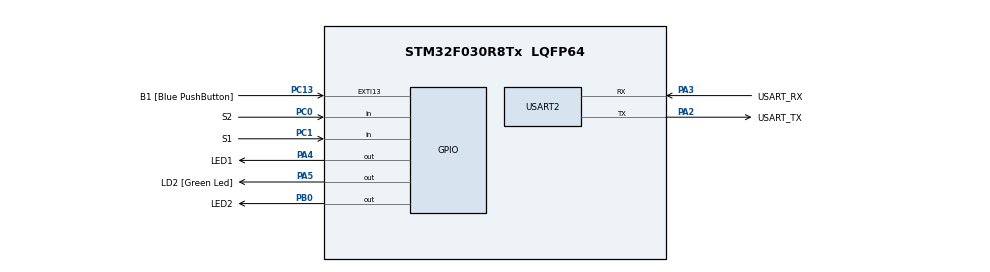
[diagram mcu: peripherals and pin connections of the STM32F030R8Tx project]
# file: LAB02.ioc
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Mcu.Family=STM32F0
Mcu.Name=STM32F030R8Tx
Mcu.Package=LQFP64
PA13.GPIO_Label=TMS
PA13.Mode=Serial_Wire
PA13.Signal=SYS_SWDIO
PA14.GPIO_Label=TCK
PA14.Mode=Serial_Wire
PA14.Signal=SYS_SWCLK
PA2.GPIO_Label=USART_TX
PA2.GPIO_Mode=GPIO_MODE_AF_PP
PA2.GPIO_PuPd=GPIO_NOPULL
PA2.GPIO_Speed=GPIO_SPEED_FREQ_LOW
PA2.Mode=Asynchronous
PA2.Signal=USART2_TX
PA3.GPIO_Label=USART_RX
PA3.GPIO_Mode=GPIO_MODE_AF_PP
PA3.GPIO_PuPd=GPIO_NOPULL
PA3.GPIO_Speed=GPIO_SPEED_FREQ_LOW
PA3.Mode=Asynchronous
PA3.Signal=USART2_RX
PA4.GPIO_Label=LED1
PA4.Signal=GPIO_Output
PA5.GPIO_Label=LD2 [Green Led]
PA5.GPIO_Mode=GPIO_MODE_OUTPUT_PP
PA5.GPIO_PuPd=GPIO_NOPULL
PA5.GPIO_Speed=GPIO_SPEED_FREQ_LOW
PA5.Signal=GPIO_Output
PB0.GPIO_Label=LED2
PB0.Signal=GPIO_Output
PC0.GPIO_Label=S2
PC0.GPIO_PuPd=GPIO_PULLUP
PC0.Signal=GPIO_Input
PC1.GPIO_Label=S1
PC1.GPIO_PuPd=GPIO_PULLUP
PC1.Signal=GPIO_Input
PC13.GPIO_Label=B1 [Blue PushButton]
PC13.GPIO_ModeDefaultEXTI=GPIO_MODE_IT_FALLING
PC13.Signal=GPXTI13
PC14-OSC32_IN.Mode=LSE-External-Oscillator
PC14-OSC32_IN.Signal=RCC_OSC32_IN
PC15-OSC32_OUT.Mode=LSE-External-Oscillator
PC15-OSC32_OUT.Signal=RCC_OSC32_OUT
PF0-OSC_IN.Mode=HSE-External-Clock-Source
PF0-OSC_IN.Signal=RCC_OSC_IN
PF1-OSC_OUT.Signal=RCC_OSC_OUT
ProjectManager.HeapSize=0x200
ProjectManager.StackSize=0x400
ProjectManager.TargetToolchain=STM32CubeIDE
RCC.AHBFreq_Value=48000000
RCC.APB1Freq_Value=48000000
RCC.APB1TimFreq_Value=48000000
RCC.HCLKFreq_Value=48000000
RCC.PLLMUL=RCC_PLL_MUL12
RCC.SYSCLKFreq_VALUE=48000000
RCC.SYSCLKSource=RCC_SYSCLKSOURCE_PLLCLK
USART2.VirtualMode-Asynchronous=VM_ASYNC
board=NUCLEO-F030R8

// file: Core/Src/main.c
/* USER CODE BEGIN Header */
/**
  ******************************************************************************
  * @file           : main.c
  * @brief          : Main program body
  ******************************************************************************
  * @attention
  *
  * Copyright (c) 2025 STMicroelectronics.
  * All rights reserved.
  *
  * This software is licensed under terms that can be found in the LICENSE file
  * in the root directory of this software component.
  * If no LICENSE file comes with this software, it is provided AS-IS.
  *
  ******************************************************************************
  */
/* USER CODE END Header */
#include "main.h"

/* USER CODE BEGIN PD */
#define LED_TIME_BLINK 300
#define BUTTON_TIME_SAMPLE 40
#define BUTTON_TIME_SAMPLE_SHORT 5
#define LED_TIME_SHORT 100
#define LED_TIME_LONG 1000

//#define OLD
/* USER CODE END PD */

/* USER CODE BEGIN PV */
volatile uint32_t Tick;

/* USER CODE END PV */

void SystemClock_Config(void);
static void MX_GPIO_Init(void);
static void MX_USART2_UART_Init(void);

/* USER CODE BEGIN 0 */
void blink(void) {
	static uint32_t delay;

	if (Tick > delay + LED_TIME_BLINK) {
		LL_GPIO_TogglePin(LED1_GPIO_Port, LED1_Pin);
		delay = Tick;
	}
}

#ifdef OLD
void button(void) {
	static uint32_t delay;
	static uint32_t old_s1, old_s2;
	static uint32_t off_time;

	if (Tick > delay + BUTTON_TIME_SAMPLE) {
		uint32_t new_s1 = LL_GPIO_IsInputPinSet(S1_GPIO_Port, S1_Pin);
		uint32_t new_s2 = LL_GPIO_IsInputPinSet(S2_GPIO_Port, S2_Pin);

		if (old_s1 && !new_s1) { // falling edge
			off_time = Tick + LED_TIME_LONG;
			LL_GPIO_SetOutputPin(LED2_GPIO_Port, LED2_Pin);
		}
		if (old_s2 && !new_s2) { // falling edge
			off_time = Tick + LED_TIME_SHORT;
			LL_GPIO_SetOutputPin(LED2_GPIO_Port, LED2_Pin);
		}
		old_s1 = new_s1;
		old_s2 = new_s2;
		delay = Tick;
	}

	if (Tick > off_time) {
		LL_GPIO_ResetOutputPin(LED2_GPIO_Port, LED2_Pin);
	}

}
#else

void button(void) {
	static uint32_t delay;
	static uint32_t off_time;
	static uint32_t old_s2;
	static uint16_t debounce = 0xFFFF;

	if (Tick > delay + BUTTON_TIME_SAMPLE_SHORT) {
		debounce <<= 1;

		if (LL_GPIO_IsInputPinSet(S1_GPIO_Port, S1_Pin)) {
			debounce |= 0x0001;
		}

		if (debounce == 0x7FFF) { // falling edge
			off_time = Tick + LED_TIME_LONG;
			LL_GPIO_SetOutputPin(LED2_GPIO_Port, LED2_Pin);
		}

		uint32_t new_s2 = LL_GPIO_IsInputPinSet(S2_GPIO_Port, S2_Pin);

		if (old_s2 && !new_s2) { // falling edge
			off_time = Tick + LED_TIME_SHORT;
			LL_GPIO_SetOutputPin(LED2_GPIO_Port, LED2_Pin);
		}
		old_s2 = new_s2;

		delay = Tick;
	}

	if (Tick > off_time) {
		LL_GPIO_ResetOutputPin(LED2_GPIO_Port, LED2_Pin);
	}
}
#endif
/* USER CODE END 0 */

int main(void)
{

  /* MCU Configuration--------------------------------------------------------*/

  /* Reset of all peripherals, Initializes the Flash interface and the Systick. */
  LL_APB1_GRP2_EnableClock(LL_APB1_GRP2_PERIPH_SYSCFG);
  LL_APB1_GRP1_EnableClock(LL_APB1_GRP1_PERIPH_PWR);

  /* Configure the system clock */
  SystemClock_Config();

  /* Initialize all configured peripherals */
  MX_GPIO_Init();
  MX_USART2_UART_Init();
  /* USER CODE BEGIN 2 */
  LL_SYSTICK_EnableIT();
  /* USER CODE END 2 */

  /* Infinite loop */
  while (1)
  {
	  blink();
	  button();

  }
}

void SystemClock_Config(void)
{
  LL_FLASH_SetLatency(LL_FLASH_LATENCY_1);
  while(LL_FLASH_GetLatency() != LL_FLASH_LATENCY_1)
  {
  }
  LL_RCC_HSI_Enable();

   /* Wait till HSI is ready */
  while(LL_RCC_HSI_IsReady() != 1)
  {

  }
  LL_RCC_HSI_SetCalibTrimming(16);
  LL_RCC_PLL_ConfigDomain_SYS(LL_RCC_PLLSOURCE_HSI_DIV_2, LL_RCC_PLL_MUL_12);
  LL_RCC_PLL_Enable();

   /* Wait till PLL is ready */
  while(LL_RCC_PLL_IsReady() != 1)
  {

  }
  LL_RCC_SetAHBPrescaler(LL_RCC_SYSCLK_DIV_1);
  LL_RCC_SetAPB1Prescaler(LL_RCC_APB1_DIV_1);
  LL_RCC_SetSysClkSource(LL_RCC_SYS_CLKSOURCE_PLL);

   /* Wait till System clock is ready */
  while(LL_RCC_GetSysClkSource() != LL_RCC_SYS_CLKSOURCE_STATUS_PLL)
  {

  }
  LL_Init1msTick(48000000);
  LL_SetSystemCoreClock(48000000);
}

static void MX_USART2_UART_Init(void)
{

  LL_USART_InitTypeDef USART_InitStruct = {0};

  LL_GPIO_InitTypeDef GPIO_InitStruct = {0};

  /* Peripheral clock enable */
  LL_APB1_GRP1_EnableClock(LL_APB1_GRP1_PERIPH_USART2);

  LL_AHB1_GRP1_EnableClock(LL_AHB1_GRP1_PERIPH_GPIOA);
  /**USART2 GPIO Configuration
  PA2   ------> USART2_TX
  PA3   ------> USART2_RX
  */
  GPIO_InitStruct.Pin = USART_TX_Pin;
  GPIO_InitStruct.Mode = LL_GPIO_MODE_ALTERNATE;
  GPIO_InitStruct.Speed = LL_GPIO_SPEED_FREQ_LOW;
  GPIO_InitStruct.OutputType = LL_GPIO_OUTPUT_PUSHPULL;
  GPIO_InitStruct.Pull = LL_GPIO_PULL_NO;
  GPIO_InitStruct.Alternate = LL_GPIO_AF_1;
  LL_GPIO_Init(USART_TX_GPIO_Port, &GPIO_InitStruct);

  GPIO_InitStruct.Pin = USART_RX_Pin;
  GPIO_InitStruct.Mode = LL_GPIO_MODE_ALTERNATE;
  GPIO_InitStruct.Speed = LL_GPIO_SPEED_FREQ_LOW;
  GPIO_InitStruct.OutputType = LL_GPIO_OUTPUT_PUSHPULL;
  GPIO_InitStruct.Pull = LL_GPIO_PULL_NO;
  GPIO_InitStruct.Alternate = LL_GPIO_AF_1;
  LL_GPIO_Init(USART_RX_GPIO_Port, &GPIO_InitStruct);

  USART_InitStruct.BaudRate = 38400;
  USART_InitStruct.DataWidth = LL_USART_DATAWIDTH_8B;
  USART_InitStruct.StopBits = LL_USART_STOPBITS_1;
  USART_InitStruct.Parity = LL_USART_PARITY_NONE;
  USART_InitStruct.TransferDirection = LL_USART_DIRECTION_TX_RX;
  USART_InitStruct.HardwareFlowControl = LL_USART_HWCONTROL_NONE;
  USART_InitStruct.OverSampling = LL_USART_OVERSAMPLING_16;
  LL_USART_Init(USART2, &USART_InitStruct);
  LL_USART_DisableIT_CTS(USART2);
  LL_USART_ConfigAsyncMode(USART2);
  LL_USART_Enable(USART2);

}

static void MX_GPIO_Init(void)
{
  LL_EXTI_InitTypeDef EXTI_InitStruct = {0};
  LL_GPIO_InitTypeDef GPIO_InitStruct = {0};

  /* GPIO Ports Clock Enable */
  LL_AHB1_GRP1_EnableClock(LL_AHB1_GRP1_PERIPH_GPIOC);
  LL_AHB1_GRP1_EnableClock(LL_AHB1_GRP1_PERIPH_GPIOF);
  LL_AHB1_GRP1_EnableClock(LL_AHB1_GRP1_PERIPH_GPIOA);
  LL_AHB1_GRP1_EnableClock(LL_AHB1_GRP1_PERIPH_GPIOB);

  /**/
  LL_GPIO_ResetOutputPin(LED1_GPIO_Port, LED1_Pin);

  /**/
  LL_GPIO_ResetOutputPin(LD2_GPIO_Port, LD2_Pin);

  /**/
  LL_GPIO_ResetOutputPin(LED2_GPIO_Port, LED2_Pin);

  /**/
  LL_SYSCFG_SetEXTISource(LL_SYSCFG_EXTI_PORTC, LL_SYSCFG_EXTI_LINE13);

  /**/
  LL_GPIO_SetPinPull(B1_GPIO_Port, B1_Pin, LL_GPIO_PULL_NO);

  /**/
  LL_GPIO_SetPinMode(B1_GPIO_Port, B1_Pin, LL_GPIO_MODE_INPUT);

  /**/
  EXTI_InitStruct.Line_0_31 = LL_EXTI_LINE_13;
  EXTI_InitStruct.LineCommand = ENABLE;
  EXTI_InitStruct.Mode = LL_EXTI_MODE_IT;
  EXTI_InitStruct.Trigger = LL_EXTI_TRIGGER_FALLING;
  LL_EXTI_Init(&EXTI_InitStruct);

  /**/
  GPIO_InitStruct.Pin = S2_Pin;
  GPIO_InitStruct.Mode = LL_GPIO_MODE_INPUT;
  GPIO_InitStruct.Pull = LL_GPIO_PULL_UP;
  LL_GPIO_Init(S2_GPIO_Port, &GPIO_InitStruct);

  /**/
  GPIO_InitStruct.Pin = S1_Pin;
  GPIO_InitStruct.Mode = LL_GPIO_MODE_INPUT;
  GPIO_InitStruct.Pull = LL_GPIO_PULL_UP;
  LL_GPIO_Init(S1_GPIO_Port, &GPIO_InitStruct);

  /**/
  GPIO_InitStruct.Pin = LED1_Pin;
  GPIO_InitStruct.Mode = LL_GPIO_MODE_OUTPUT;
  GPIO_InitStruct.Speed = LL_GPIO_SPEED_FREQ_LOW;
  GPIO_InitStruct.OutputType = LL_GPIO_OUTPUT_PUSHPULL;
  GPIO_InitStruct.Pull = LL_GPIO_PULL_NO;
  LL_GPIO_Init(LED1_GPIO_Port, &GPIO_InitStruct);

  /**/
  GPIO_InitStruct.Pin = LD2_Pin;
  GPIO_InitStruct.Mode = LL_GPIO_MODE_OUTPUT;
  GPIO_InitStruct.Speed = LL_GPIO_SPEED_FREQ_LOW;
  GPIO_InitStruct.OutputType = LL_GPIO_OUTPUT_PUSHPULL;
  GPIO_InitStruct.Pull = LL_GPIO_PULL_NO;
  LL_GPIO_Init(LD2_GPIO_Port, &GPIO_InitStruct);

  /**/
  GPIO_InitStruct.Pin = LED2_Pin;
  GPIO_InitStruct.Mode = LL_GPIO_MODE_OUTPUT;
  GPIO_InitStruct.Speed = LL_GPIO_SPEED_FREQ_LOW;
  GPIO_InitStruct.OutputType = LL_GPIO_OUTPUT_PUSHPULL;
  GPIO_InitStruct.Pull = LL_GPIO_PULL_NO;
  LL_GPIO_Init(LED2_GPIO_Port, &GPIO_InitStruct);

}

void Error_Handler(void)
{
  __disable_irq();
  while (1)
  {
  }
}
